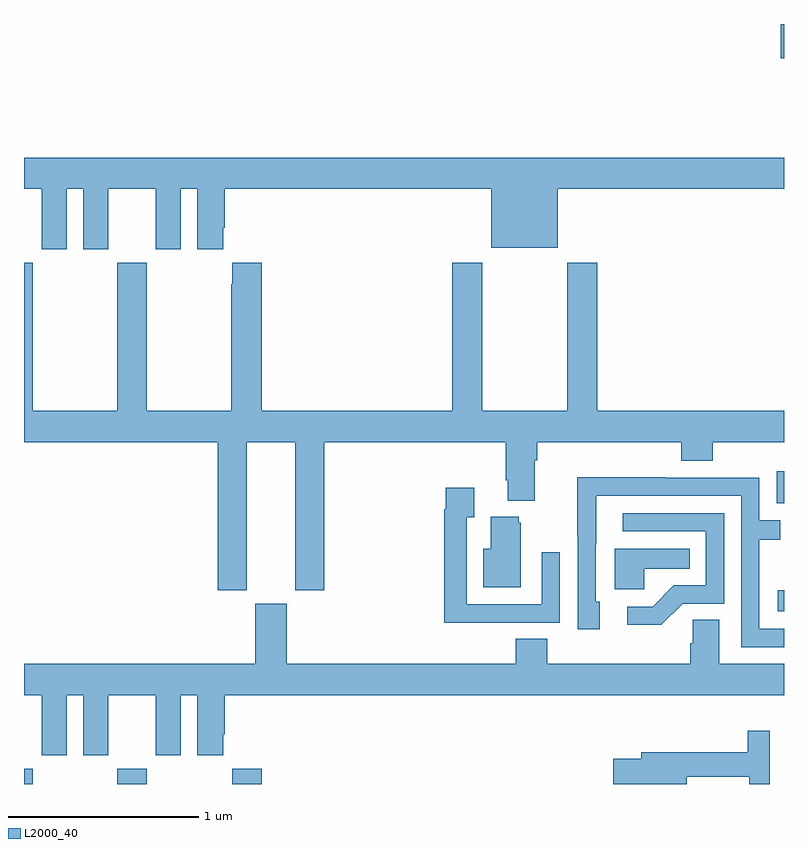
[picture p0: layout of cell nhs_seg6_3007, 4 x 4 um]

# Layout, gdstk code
import gdstk
lib = gdstk.Library(unit=1e-6, precision=1e-09)
def R(c, l, rs):  # rectangles x0, y0, x1, y1
    for r in rs: c.add(gdstk.rectangle(r[:2], r[2:], *l))
def P(c, l, *ps):  # polygons
    for p in ps: c.add(gdstk.Polygon(p, *l))
L2000_40 = (2000, 40)

nhs_seg6_3007 = lib.new_cell('nhs_seg6_3007')
R(nhs_seg6_3007, L2000_40, [(287,981.5,287.046,981.58), (287.491,981.5,287.646,981.58), (288.095,981.5,288.251,981.58), (290.967,982.409,291,982.519), (290.961,982.977,291,983.146), (290.984,985.319,291,985.5)])
P(nhs_seg6_3007, L2000_40, [(287.224,984.632),(287.312,984.632),(287.312,984.315),(287.443,984.315),(287.443,984.632),(287.693,984.632),(287.693,984.315),(287.824,984.315),(287.824,984.632),(287.912,984.632),(287.912,984.315),(288.049,984.315),(288.049,984.427),(288.056,984.427),(288.056,984.632),(289.46,984.632),(289.46,984.323),(289.81,984.323),(289.81,984.632),(291,984.632),(291,984.796),(287,984.796),(287,984.632),(287.093,984.632),(287.093,984.315),(287.224,984.315)],
  [(288.172,983.3),(288.428,983.3),(288.428,982.521),(288.581,982.521),(288.581,983.3),(289.535,983.3),(289.535,983.098),(289.547,983.098),(289.547,982.991),(289.687,982.991),(289.687,983.204),(289.7,983.204),(289.7,983.3),(290.459,983.3),(290.459,983.201),(290.624,983.201),(290.624,983.3),(291,983.3),(291,983.464),(290.018,983.464),(290.018,984.244),(289.858,984.244),(289.858,983.464),(289.413,983.464),(289.413,984.244),(289.253,984.244),(289.253,983.464),(288.251,983.464),(288.251,984.244),(288.095,984.244),(288.095,984.131),(288.091,984.131),(288.091,983.464),(287.646,983.464),(287.646,984.244),(287.491,984.244),(287.491,983.464),(287.046,983.464),(287.046,984.244),(287,984.244),(287,983.3),(288.02,983.3),(288.02,982.521),(288.172,982.521)],
  [(291,982.317),(290.871,982.317),(290.871,982.786),(290.981,982.786),(290.981,982.887),(290.871,982.887),(290.871,983.112),(290.375,983.112),(290.375,983.114),(289.912,983.114),(289.912,982.807),(289.914,982.807),(289.914,982.314),(290.029,982.314),(290.029,982.458),(290.01,982.458),(290.01,982.762),(290.011,982.762),(290.011,983.016),(290.775,983.016),(290.775,982.221),(291,982.221)],
  [(289.505,982.35),(289.821,982.35),(289.821,982.72),(289.725,982.72),(289.725,982.446),(289.329,982.446),(289.329,982.903),(289.369,982.903),(289.369,983.059),(289.221,983.059),(289.221,982.946),(289.213,982.946),(289.213,982.349),(289.505,982.349)],
  [(290.466,982.449),(290.685,982.449),(290.685,982.926),(290.151,982.926),(290.151,982.83),(290.589,982.83),(290.589,982.545),(290.42,982.545),(290.309,982.434),(290.175,982.434),(290.175,982.337),(290.353,982.337)],
  [(289.615,982.875),(289.604,982.875),(289.604,982.906),(289.457,982.906),(289.457,982.738),(289.418,982.738),(289.418,982.535),(289.615,982.535)],
  [(290.265,982.634),(290.504,982.634),(290.504,982.738),(290.108,982.738),(290.108,982.526),(290.265,982.526)],
  [(287,981.968),(287.093,981.968),(287.093,981.651),(287.224,981.651),(287.224,981.968),(287.312,981.968),(287.312,981.651),(287.443,981.651),(287.443,981.968),(287.693,981.968),(287.693,981.651),(287.824,981.651),(287.824,981.968),(287.912,981.968),(287.912,981.651),(288.049,981.651),(288.049,981.763),(288.056,981.763),(288.056,981.968),(291,981.968),(291,982.132),(290.659,982.132),(290.659,982.364),(290.52,982.364),(290.52,982.241),(290.507,982.241),(290.507,982.132),(289.754,982.132),(289.754,982.265),(289.589,982.265),(289.589,982.132),(288.382,982.132),(288.382,982.449),(288.218,982.449),(288.218,982.132),(287,982.132)],
  [(290.488,981.538),(290.817,981.538),(290.817,981.5),(290.925,981.5),(290.925,981.781),(290.809,981.781),(290.809,981.667),(290.249,981.667),(290.249,981.633),(290.1,981.633),(290.1,981.5),(290.488,981.5)])

lib.write_gds('nhs_seg6_3007.gds')
